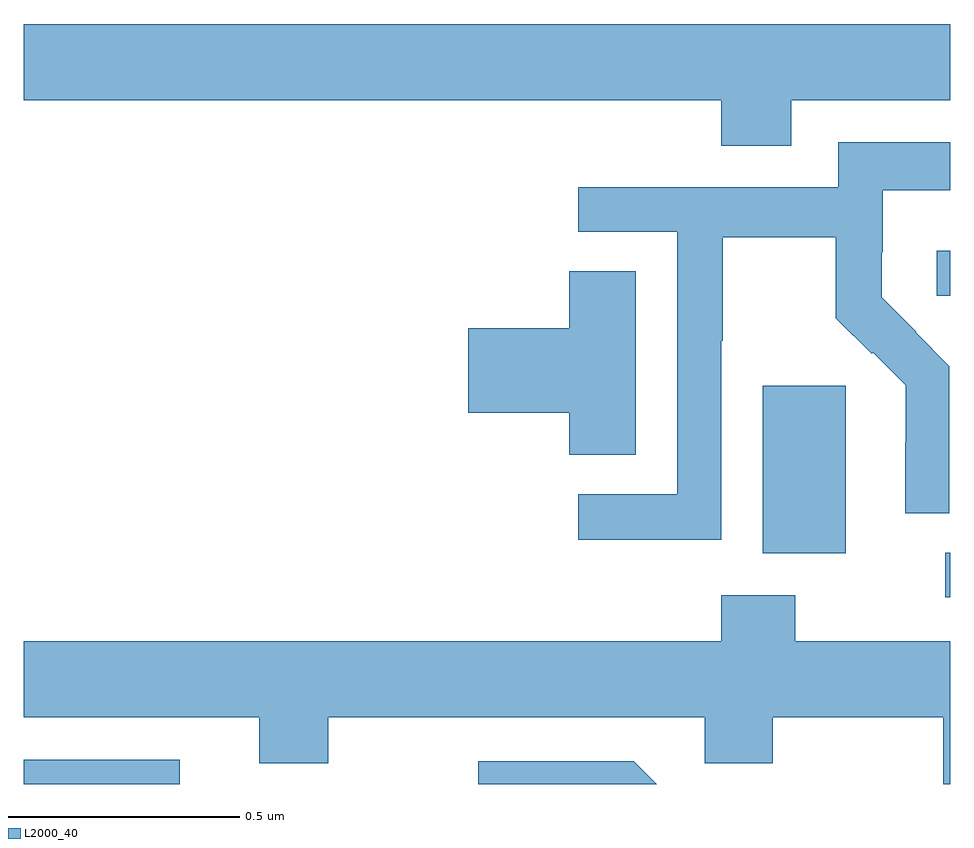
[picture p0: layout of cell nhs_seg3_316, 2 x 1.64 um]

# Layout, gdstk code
import gdstk
lib = gdstk.Library(unit=1e-6, precision=1e-09)
def R(c, l, rs):  # rectangles x0, y0, x1, y1
    for r in rs: c.add(gdstk.rectangle(r[:2], r[2:], *l))
def P(c, l, *ps):  # polygons
    for p in ps: c.add(gdstk.Polygon(p, *l))
L2000_40 = (2000, 40)

nhs_seg3_316 = lib.new_cell('nhs_seg3_316')
R(nhs_seg3_316, L2000_40, [(114,739.4,114.337,739.452), (115.989,739.803,116,739.899), (115.595,739.898,115.774,740.259), (115.971,740.454,116,740.551)])
P(nhs_seg3_316, L2000_40, [(115.657,740.876),(116,740.876),(116,741.04),(114,741.04),(114,740.876),(115.505,740.876),(115.505,740.777),(115.657,740.777)],
  [(115.506,740.356),(115.509,740.356),(115.509,740.58),(115.753,740.58),(115.753,740.405),(115.83,740.328),(115.833,740.331),(115.904,740.261),(115.904,740.138),(115.902,740.138),(115.902,739.984),(115.998,739.984),(115.998,740.302),(115.925,740.375),(115.926,740.376),(115.852,740.45),(115.852,740.547),(115.854,740.547),(115.854,740.681),(116,740.681),(116,740.785),(115.758,740.785),(115.758,740.688),(115.197,740.688),(115.197,740.592),(115.41,740.592),(115.41,740.025),(115.197,740.025),(115.197,739.927),(115.506,739.927)],
  [(115.321,740.507),(115.178,740.507),(115.178,740.384),(114.96,740.384),(114.96,740.201),(115.178,740.201),(115.178,740.11),(115.321,740.11)],
  [(116,739.708),(115.665,739.708),(115.665,739.807),(115.505,739.807),(115.505,739.708),(114,739.708),(114,739.544),(114.509,739.544),(114.509,739.445),(114.657,739.445),(114.657,739.544),(115.47,739.544),(115.47,739.445),(115.617,739.445),(115.617,739.544),(115.984,739.544),(115.984,739.4),(116,739.4)],
  [(115.317,739.449),(114.981,739.449),(114.981,739.4),(115.366,739.4)])

lib.write_gds('nhs_seg3_316.gds')
